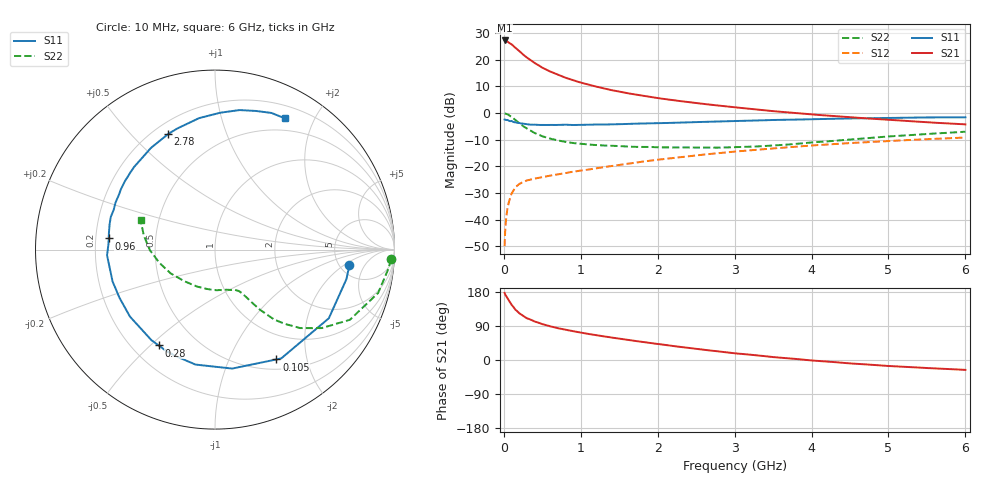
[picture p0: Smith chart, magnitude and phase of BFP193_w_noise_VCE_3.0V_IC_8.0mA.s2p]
! Infineon Technologies  Discrete & RF Semiconductors
! BFP193
! VCE = 3.0 V,  IC =  8.0 mA
! Common Emitter S-Parameters:  Jan 2016
# GHz  S  MA  R  50
!  f  S11  S21  S12  S22
! GHz  MAG  ANG  MAG  ANG  MAG  ANG  MAG  ANG
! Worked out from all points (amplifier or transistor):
!   210 points, 10 MHz to 6 GHz, reference 50 ohm
!   highest |S21| = 27.1 dB at 10 MHz (marker M1)
!   |S21| within 3 dB of that: start of sweep to 161.4 MHz
!   unconditionally stable (mu >= 1): 1.099 GHz to 3.66 GHz
!   at 185 MHz: K = 0.28, MSG = 25.3 dB, |S12| = -27.0 dB
!   at 1.52 GHz: K = 1.09, MAG = 11.8 dB, |S12| = -19.4 dB
!   at 6 GHz: K = 0.90, MSG = 2.5 dB, |S12| = -9.2 dB
!   lowest NFmin = 1.25 dB at 450 MHz
!   S11 on the Smith chart (normalised r, x): 10 MHz: 6.09, -2.48; 105 MHz: 0.63, -1.52; 280 MHz: 0.31, -0.53; 960 MHz: 0.25, +0.05; 2.78 GHz: 0.26, +0.64; 6 GHz: 0.34, +1.61
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0.01  0.754 -6.7  22.76 177.0  0.0032 87.4  0.9811 -3.1
0.02  0.7505 -12.7  22.2 172.0  0.0071 83.3  0.9736 -6.0
0.05  0.7407 -31.1  21.57 161.5  0.0172 75.3  0.9405 -14.9
0.1  0.7098 -58.7  19.32 145.9  0.0307 63.6  0.8471 -27.5
0.105  0.7009 -60.8  19.01 144.8  0.0316 62.4  0.8354 -28.3
0.15  0.6697 -81.8  16.65 132.8  0.0405 54.0  0.7384 -36.3
0.2  0.6497 -99.6  14.44 123.5  0.0466 49.0  0.6447 -42.7
0.24  0.632 -110.7  12.79 117.6  0.05 45.3  0.5812 -46.0
0.28  0.6194 -120.4  11.46 112.6  0.053 43.4  0.5316 -48.6
0.3  0.6164 -125.1  10.87 110.1  0.0544 42.8  0.5092 -49.8
0.4  0.6032 -141.8  8.635 101.6  0.059 39.9  0.4209 -53.1
0.5  0.5961 -153.2  7.043 94.6  0.0625 39.4  0.3659 -54.9
0.7  0.5957 -170.6  5.2 84.0  0.0704 40.4  0.3059 -57.2
0.96  0.5957 174.0  3.852 73.9  0.0814 42.5  0.2676 -60.0
1.02  0.5984 170.9  3.636 71.6  0.0837 43.1  0.2625 -60.9
1.4  0.6131 154.7  2.673 59.3  0.1011 45.1  0.2434 -67.6
2.02  0.6449 133.7  1.879 41.8  0.134 45.2  0.2269 -83.0
2.78  0.6938 112.3  1.379 22.9  0.176 41.4  0.224 -107.9
3.1  0.7111 105.1  1.234 16.0  0.1941 39.0  0.2303 -119.7
4.1  0.767 86.3  0.915 -2.6  0.2508 30.0  0.2862 -155.0
5.1  0.8083 72.4  0.728 -16.8  0.3029 19.6  0.3697 178.0
6  0.8283 62.1  0.611 -26.1  0.3464 9.5  0.4451 158.6
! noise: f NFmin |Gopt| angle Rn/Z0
0.45  1.25  0.23  133  0.12
0.9  1.3  0.35  156  0.11
1.8  2  0.55  -155  0.13
